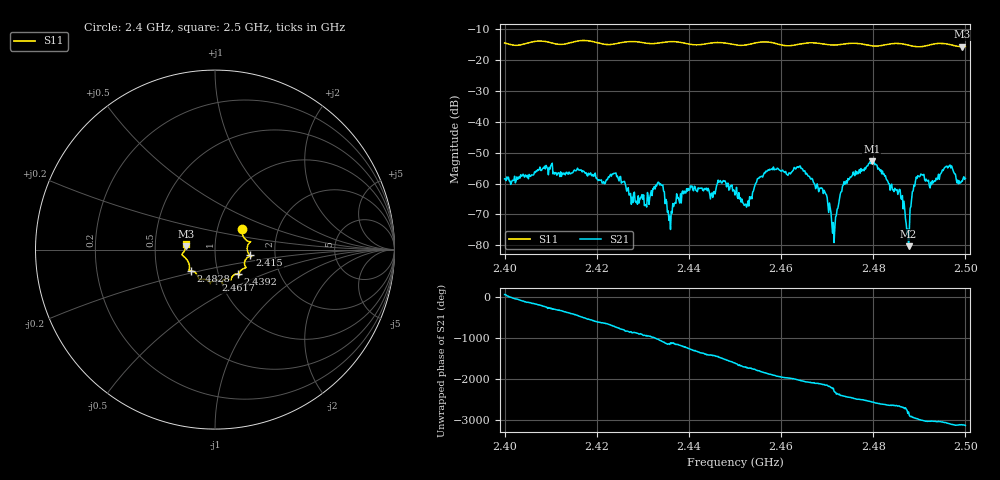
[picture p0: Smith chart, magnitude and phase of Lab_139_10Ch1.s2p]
# Hz S RI R 50
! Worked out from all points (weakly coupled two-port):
!   601 points, 2.4 GHz to 2.5 GHz, reference 50 ohm
!   highest |S21| = -52.84 dB at 2.4797 GHz (marker M1); lowest = -80.3 dB at 2.4877 GHz (marker M2)
!   lowest |S11| = -15.7 dB at 2.4993 GHz (marker M3), VSWR 1.39, Z = 36 + j1.43 ohm
!   |S11| at or under -10 dB: start of sweep to end of sweep
!   S12 and S22 are empty: the file has one direction only
!   S11 on the Smith chart (normalised r, x): 2.4 GHz: 1.31, +0.31; 2.415 GHz: 1.48, -0.10; 2.4392 GHz: 1.24, -0.35; 2.4617 GHz: 0.96, -0.34; 2.4828 GHz: 0.75, -0.18; 2.5 GHz: 0.72, +0.05
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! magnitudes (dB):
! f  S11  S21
! 2.4 GHz  -14.5  -58.5
! 2.415 GHz  -14.1  -55.8
! 2.4167 GHz  -13.7  -55.6
! 2.424 GHz  -14.7  -56.6
! 2.4288 GHz  -14.1  -66.7
! 2.4333 GHz  -14.5  -59.5
! 2.4358 GHz  -14.0  -70.5
! 2.4392 GHz  -14.6  -62.9
! 2.45 GHz  -15.0  -63.7
! 2.4525 GHz  -15.1  -67.6
! 2.4568 GHz  -14.1  -56.1
! 2.4617 GHz  -15.4  -56.6
! 2.4667 GHz  -14.4  -58.3
! 2.4715 GHz  -15.1  -79.1
! 2.4737 GHz  -14.8  -59.4
! 2.4797 GHz  -15.4  -52.8
! 2.4828 GHz  -15.0  -58.6
! 2.4833 GHz  -14.8  -60.0
! 2.4877 GHz  -15.2  -80.3
! 2.4898 GHz  -15.7  -57.7
! 2.4993 GHz  -15.7  -59.2
! 2.5 GHz  -15.6  -58.3
